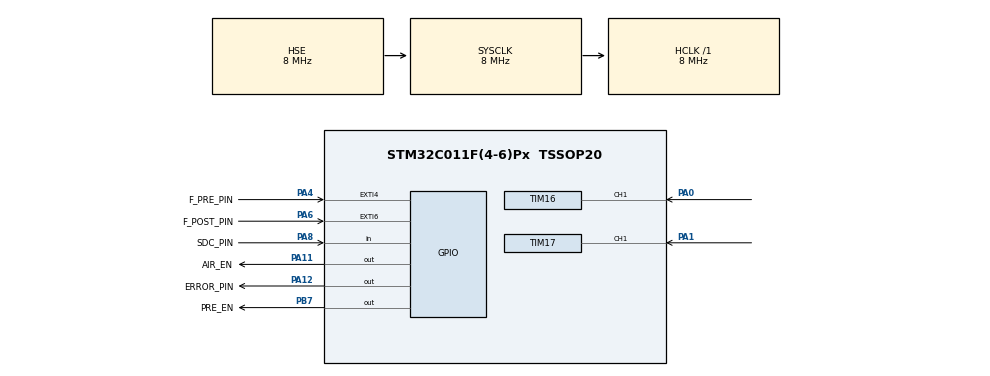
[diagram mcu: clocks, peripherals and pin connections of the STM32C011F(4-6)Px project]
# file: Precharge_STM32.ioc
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Mcu.Family=STM32C0
Mcu.Name=STM32C011F(4-6)Px
Mcu.Package=TSSOP20
NVIC.TIM14_IRQn=true\:0\:0\:false\:false\:true\:true\:true\:true
NVIC.TIM16_IRQn=true\:0\:0\:false\:false\:true\:true\:true\:true
PA0.Signal=S_TIM16_CH1
PA1.Signal=S_TIM17_CH1
PA11\ [PA9].GPIO_Label=AIR_EN
PA11\ [PA9].Signal=GPIO_Output
PA12\ [PA10].GPIO_Label=ERROR_PIN
PA12\ [PA10].Signal=GPIO_Output
PA13.Mode=Serial_Wire
PA13.Signal=DEBUG_SWDIO
PA14-BOOT0.Mode=Serial_Wire
PA14-BOOT0.Signal=DEBUG_SWCLK
PA4.GPIO_Label=F_PRE_PIN
PA4.Signal=GPXTI4
PA6.GPIO_Label=F_POST_PIN
PA6.Signal=GPXTI6
PA8.GPIO_Label=SDC_PIN
PA8.Signal=GPIO_Input
PB7.GPIO_Label=PRE_EN
PB7.Signal=GPIO_Output
PC14-OSCX_IN\ (PC14).Mode=HSE-External-Oscillator-REMAPPED
PC14-OSCX_IN\ (PC14).Signal=RCC_OSCX_IN
PC15-OSCX_OUT\ (PC15).Mode=HSE-External-Oscillator-REMAPPED
PC15-OSCX_OUT\ (PC15).Signal=RCC_OSCX_OUT
ProjectManager.HeapSize=0x200
ProjectManager.StackSize=0x400
ProjectManager.TargetToolchain=STM32CubeIDE
RCC.ADCFreq_Value=8000000
RCC.AHBFreq_Value=8000000
RCC.CortexFreq_Value=8000000
RCC.EXTERNAL_CLOCK_VALUE=12288000
RCC.HCLKFreq_Value=8000000
RCC.HSE_VALUE=8000000
RCC.HSI_VALUE=48000000
RCC.LSE_VALUE=32768
RCC.SYSCLKFreq_VALUE=8000000
RCC.SYSCLKSource=RCC_SYSCLKSOURCE_HSE
SH.S_TIM16_CH1.0=TIM16_CH1,Input_Capture1_from_TI1
SH.S_TIM17_CH1.0=TIM17_CH1,Input_Capture1_from_TI1
TIM14.Channel=TIM_CHANNEL_1
TIM14.Period=100
TIM14.Prescaler=4096
TIM16.Channel=TIM_CHANNEL_1
TIM16.Prescaler=128
TIM17.Channel=TIM_CHANNEL_1
TIM17.Prescaler=128
VP_TIM14_VS_ClockSourceINT.Mode=Enable_Timer
VP_TIM14_VS_no_output1.Mode=Output Compare1 No Output
VP_TIM16_VS_ClockSourceINT.Mode=Enable_Timer
VP_TIM17_VS_ClockSourceINT.Mode=Enable_Timer
board=custom

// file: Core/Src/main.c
/* USER CODE BEGIN Header */
/**
  ******************************************************************************
  * @file           : main.c
  * @brief          : Main program body
  ******************************************************************************
  * @attention
  *
  * Copyright (c) 2025 STMicroelectronics.
  * All rights reserved.
  *
  * This software is licensed under terms that can be found in the LICENSE file
  * in the root directory of this software component.
  * If no LICENSE file comes with this software, it is provided AS-IS.
  *
  ******************************************************************************
  */
/* USER CODE END Header */
#include "main.h"

/* USER CODE BEGIN Includes */

#include <stdint.h>  // For standard integer types like uint8_t, uint16_t

/* USER CODE END Includes */

/* USER CODE BEGIN PTD */

	// Global flag variable, accessible by both the ISR and the main loop.

	// Timer values
	volatile uint32_t post_captures[2] = {0};
	volatile uint8_t post_index = 0;
	volatile float post_frequency = 0.0f;

	volatile uint32_t pre_captures[2] = {0};
	volatile uint8_t pre_index = 0;
	volatile float pre_frequency = 0.0f;

	volatile uint8_t ratio = 0;

	// volatile uint8_t post_isr_flag = 0;
	// volatile uint8_t pre_isr_flag = 0;

	// some flags / booleans
	volatile char start_flag = 0; 	 // if in pre-en state
	volatile char charged_flag = 0;   // if in charged state
	volatile char error_flag = 0;		// if in error state

	volatile char prev_sdc = 1; 	// previous sdc reading
	volatile char sdc = 1;			// current sdc reading

	// freq / voltage constraints
	uint8_t lower_charge_tresh = 100;      // don't want to reach 90% charge by this time - 0.05 sec
	uint8_t upper_charge_tresh = 2000;    // want to have reached 90% charge by this time
	uint8_t upper_thresh_count = upper_charge_thres / lower_charge_thres;	// count to interrupt
	uint8_t counter_preen = 0; 		// counting # of interrupts that have passed

/* USER CODE END PTD */

TIM_HandleTypeDef htim14;
TIM_HandleTypeDef htim16;
TIM_HandleTypeDef htim17;

void SystemClock_Config(void);
static void MX_GPIO_Init(void);
static void MX_TIM16_Init(void);
static void MX_TIM17_Init(void);
static void MX_TIM14_Init(void);
/* USER CODE BEGIN PFP */

void start_capture(void)
{
    // Start Input Capture in interrupt mode
    HAL_TIM_IC_Start_IT(&htim16, TIM_CHANNEL_1);    // not sure if TIM_CHANNEL_1 is right
    HAL_TIM_IC_Start_IT(&htim17, TIM_CHANNEL_1);
}

// interrupt for the freq pins PWM
void HAL_TIM_IC_CaptureCallback(TIM_HandleTypeDef *htim)
{
    uint32_t captured;
    uint32_t diff;
	float timer_clk;
    // post frequency
    if (htim->Instance == TIM16) {
    	// read and storing IC value
       captured = HAL_TIM_ReadCapturedValue(&htim16, TIM_CHANNEL_1);
       post_captures[post_index++] = captured;

       if (post_index >= 2) {
    	   // make sure diff is a positive value or no overflow
    	   diff = (post_captures[1] >= post_captures[0])
			   ? (post_captures[1] - post_captures[0])
			   : (0xFFFF - post_captures[0] + post_captures[1]);

		   timer_clk = (float)HAL_RCC_GetPCLK2Freq(); // TIM16 on APB2
		   post_frequency = timer_clk / diff;
		   post_isr_flag = 1;
		   post_index = 0;
	  }
    }
    // pre frequency
    else if (htim->Instance == TIM17) {
    	// read and storing IC value
	   captured = HAL_TIM_ReadCapturedValue(&htim17, TIM_CHANNEL_1);
	   pre_captures[pre_index++] = captured;

	   if (pre_index >= 2) {
		   // make sure diff is a positive value or no overflow
		   diff = (pre_captures[1] >= pre_captures[0])
			   ? (pre_captures[1] - pre_captures[0])
			   : (0xFFFF - pre_captures[0] + pre_captures[1]);

		   timer_clk = (float)HAL_RCC_GetPCLK2Freq(); // TIM16 on APB2
		   pre_frequency = timer_clk / diff;
		   pre_index = 0;
		   pre_isr_flag = 1;
	  }
    }
}

// callback for Timer 14 to keep track after pre-charge has started

void HAL_TIM_OC_DelayElapsedCallback(TIM_HandleTypeDef *htim)
{
    if (htim->Instance == TIM14)
    {
        // executes each time CNT == CCR1

    	counter_preen++;

    	if (counter_preen == 1) {
    		// make sure voltage ratio is not over 90%
    		ratio = post_frequency * 100 / pre_frequency;

    		if (ratio > 90) {
    			// BAD -> ERROR
    			error_flag = 1;
    			start_flag = 0;
    		}

    	}
    	else if (counter_preen == upper_thresh_count) {
    		// make sure voltage ratio is over 90%
    		ratio = post_frequency * 100 / pre_frequency;

			if (ratio < 90) {
				// BAD -> ERROR
				error_flag = 1;
				start_flag = 0;
			}
			else {
				charged_flag = 1;
				start_flag = 0;
			}

			// reset counter
			counter_preen = 0;
    	}
    }
}

/* USER CODE END PFP */

int main(void)
{

  /* MCU Configuration--------------------------------------------------------*/

  /* Reset of all peripherals, Initializes the Flash interface and the Systick. */
  HAL_Init();

  /* Configure the system clock */
  SystemClock_Config();

  /* Initialize all configured peripherals */
  MX_GPIO_Init();
  MX_TIM16_Init();
  MX_TIM17_Init();
  MX_TIM14_Init();
  /* USER CODE BEGIN 2 */

  // starting timers to read inputs
  start_capture();

  /* USER CODE END 2 */

  /* Infinite loop */
  while (1)
  {

    /* USER CODE BEGIN 3 */
	 prev_sdc = sdc;
	 sdc = HAL_GPIO_ReadPin(SDC_PIN);

	 // kind of resetting everything???
	 if (!charged_flag && !start_flag) {
		 // turn off outputs
		 HAL_GPIO_WritePin(GPIOB, PRE_EN, 0);
		 HAL_GPIO_WritePin(GPIOA, AIR_EN, 0);
		 HAL_GPIO_WritePin(GPIOA, ERROR_PIN, 0);
	 }

	 // if SDC flipped from high to low, then system is good ->  PRE-CHARGE STATE
	 if(!sdc && prev_sdc && !start_flag && !charged_flag) {

		 // start timer
		 HAL_TIM_OC_Start_IT(&htim14, TIM_CHANNEL_1);

		 start_flag = 1;  // start charging
		 charged_flag = 0;    // not fully charged

		 // set pre-en to 1
		 HAL_GPIO_WritePin(GPIOB, PRE_EN, 1);    // turn on relay to charge
	 }

	 // if it goes to charged state (finished charging at 90%)
	 // this transition happens in the interrupt callback
	 if (!sdc && charged_flag && !start_flag) {
		 HAL_GPIO_WritePin(GPIOA, AIR_EN, 1);     // indicates that it's precharged
		 HAL_GPIO_WritePin(GPIOB, PRE_EN, 0);     // turn off relay since done precharging
	 }

	 // if it goes to error state
	 if (!sdc && error_flag) {
		HAL_GPIO_WritePin(GPIOA, AIR_EN, 0);
		HAL_GPIO_WritePin(GPIOA, ERROR_PIN, 1);
		HAL_GPIO_WritePin(GPIOB, PRE_EN, 0);
		while();   // enter infinite loop
	 }

	 // if shutdown circuit gets turned off = go back to reset, turn everything off
	 if (sdc) {
		HAL_GPIO_WritePin(GPIOB, PRE_EN, 0);
		HAL_GPIO_WritePin(GPIOB, AIR_EN, 0);
		start_flag = 0;
		charged_flag = 0;
	 }

  }
  /* USER CODE END 3 */
}

void SystemClock_Config(void)
{
  RCC_OscInitTypeDef RCC_OscInitStruct = {0};
  RCC_ClkInitTypeDef RCC_ClkInitStruct = {0};

  __HAL_FLASH_SET_LATENCY(FLASH_LATENCY_0);

  /** Initializes the RCC Oscillators according to the specified parameters
  * in the RCC_OscInitTypeDef structure.
  */
  RCC_OscInitStruct.OscillatorType = RCC_OSCILLATORTYPE_HSE;
  RCC_OscInitStruct.HSEState = RCC_HSE_ON;
  if (HAL_RCC_OscConfig(&RCC_OscInitStruct) != HAL_OK)
  {
    Error_Handler();
  }

  /** Initializes the CPU, AHB and APB buses clocks
  */
  RCC_ClkInitStruct.ClockType = RCC_CLOCKTYPE_HCLK|RCC_CLOCKTYPE_SYSCLK
                              |RCC_CLOCKTYPE_PCLK1;
  RCC_ClkInitStruct.SYSCLKSource = RCC_SYSCLKSOURCE_HSE;
  RCC_ClkInitStruct.SYSCLKDivider = RCC_SYSCLK_DIV1;
  RCC_ClkInitStruct.AHBCLKDivider = RCC_HCLK_DIV1;
  RCC_ClkInitStruct.APB1CLKDivider = RCC_APB1_DIV1;

  if (HAL_RCC_ClockConfig(&RCC_ClkInitStruct, FLASH_LATENCY_0) != HAL_OK)
  {
    Error_Handler();
  }
}

static void MX_TIM14_Init(void)
{

  TIM_OC_InitTypeDef sConfigOC = {0};

  htim14.Instance = TIM14;
  htim14.Init.Prescaler = 4096;
  htim14.Init.CounterMode = TIM_COUNTERMODE_UP;
  htim14.Init.Period = 100;
  htim14.Init.ClockDivision = TIM_CLOCKDIVISION_DIV1;
  htim14.Init.AutoReloadPreload = TIM_AUTORELOAD_PRELOAD_DISABLE;
  if (HAL_TIM_Base_Init(&htim14) != HAL_OK)
  {
    Error_Handler();
  }
  if (HAL_TIM_OC_Init(&htim14) != HAL_OK)
  {
    Error_Handler();
  }
  sConfigOC.OCMode = TIM_OCMODE_TIMING;
  sConfigOC.Pulse = 0;
  sConfigOC.OCPolarity = TIM_OCPOLARITY_HIGH;
  sConfigOC.OCFastMode = TIM_OCFAST_DISABLE;
  if (HAL_TIM_OC_ConfigChannel(&htim14, &sConfigOC, TIM_CHANNEL_1) != HAL_OK)
  {
    Error_Handler();
  }

}

static void MX_TIM16_Init(void)
{

  TIM_IC_InitTypeDef sConfigIC = {0};

  htim16.Instance = TIM16;
  htim16.Init.Prescaler = 64;
  htim16.Init.CounterMode = TIM_COUNTERMODE_UP;
  htim16.Init.Period = 65535;
  htim16.Init.ClockDivision = TIM_CLOCKDIVISION_DIV1;
  htim16.Init.RepetitionCounter = 0;
  htim16.Init.AutoReloadPreload = TIM_AUTORELOAD_PRELOAD_DISABLE;
  if (HAL_TIM_Base_Init(&htim16) != HAL_OK)
  {
    Error_Handler();
  }
  if (HAL_TIM_IC_Init(&htim16) != HAL_OK)
  {
    Error_Handler();
  }
  sConfigIC.ICPolarity = TIM_INPUTCHANNELPOLARITY_RISING;
  sConfigIC.ICSelection = TIM_ICSELECTION_DIRECTTI;
  sConfigIC.ICPrescaler = TIM_ICPSC_DIV1;
  sConfigIC.ICFilter = 0;
  if (HAL_TIM_IC_ConfigChannel(&htim16, &sConfigIC, TIM_CHANNEL_1) != HAL_OK)
  {
    Error_Handler();
  }

}

static void MX_TIM17_Init(void)
{

  TIM_IC_InitTypeDef sConfigIC = {0};

  htim17.Instance = TIM17;
  htim17.Init.Prescaler = 128;
  htim17.Init.CounterMode = TIM_COUNTERMODE_UP;
  htim17.Init.Period = 65535;
  htim17.Init.ClockDivision = TIM_CLOCKDIVISION_DIV1;
  htim17.Init.RepetitionCounter = 0;
  htim17.Init.AutoReloadPreload = TIM_AUTORELOAD_PRELOAD_DISABLE;
  if (HAL_TIM_Base_Init(&htim17) != HAL_OK)
  {
    Error_Handler();
  }
  if (HAL_TIM_IC_Init(&htim17) != HAL_OK)
  {
    Error_Handler();
  }
  sConfigIC.ICPolarity = TIM_INPUTCHANNELPOLARITY_RISING;
  sConfigIC.ICSelection = TIM_ICSELECTION_DIRECTTI;
  sConfigIC.ICPrescaler = TIM_ICPSC_DIV1;
  sConfigIC.ICFilter = 0;
  if (HAL_TIM_IC_ConfigChannel(&htim17, &sConfigIC, TIM_CHANNEL_1) != HAL_OK)
  {
    Error_Handler();
  }

}

static void MX_GPIO_Init(void)
{
  GPIO_InitTypeDef GPIO_InitStruct = {0};

  /* GPIO Ports Clock Enable */
  __HAL_RCC_GPIOB_CLK_ENABLE();
  __HAL_RCC_GPIOC_CLK_ENABLE();
  __HAL_RCC_GPIOA_CLK_ENABLE();

  /*Configure GPIO pin Output Level */
  HAL_GPIO_WritePin(PRE_EN_GPIO_Port, PRE_EN_Pin, GPIO_PIN_RESET);

  /*Configure GPIO pin Output Level */
  HAL_GPIO_WritePin(GPIOA, AIR_EN_Pin|ERROR_PIN_Pin, GPIO_PIN_RESET);

  /*Configure GPIO pin : PRE_EN_Pin */
  GPIO_InitStruct.Pin = PRE_EN_Pin;
  GPIO_InitStruct.Mode = GPIO_MODE_OUTPUT_PP;
  GPIO_InitStruct.Pull = GPIO_NOPULL;
  GPIO_InitStruct.Speed = GPIO_SPEED_FREQ_LOW;
  HAL_GPIO_Init(PRE_EN_GPIO_Port, &GPIO_InitStruct);

  /*Configure GPIO pins : F_PRE_PIN_Pin F_POST_PIN_Pin */
  GPIO_InitStruct.Pin = F_PRE_PIN_Pin|F_POST_PIN_Pin;
  GPIO_InitStruct.Mode = GPIO_MODE_IT_RISING;
  GPIO_InitStruct.Pull = GPIO_NOPULL;
  HAL_GPIO_Init(GPIOA, &GPIO_InitStruct);

  /*Configure GPIO pin : SDC_PIN_Pin */
  GPIO_InitStruct.Pin = SDC_PIN_Pin;
  GPIO_InitStruct.Mode = GPIO_MODE_INPUT;
  GPIO_InitStruct.Pull = GPIO_NOPULL;
  HAL_GPIO_Init(SDC_PIN_GPIO_Port, &GPIO_InitStruct);

  /*Configure GPIO pins : AIR_EN_Pin ERROR_PIN_Pin */
  GPIO_InitStruct.Pin = AIR_EN_Pin|ERROR_PIN_Pin;
  GPIO_InitStruct.Mode = GPIO_MODE_OUTPUT_PP;
  GPIO_InitStruct.Pull = GPIO_NOPULL;
  GPIO_InitStruct.Speed = GPIO_SPEED_FREQ_LOW;
  HAL_GPIO_Init(GPIOA, &GPIO_InitStruct);

}

void Error_Handler(void)
{
  __disable_irq();
  while (1)
  {
  }
}
